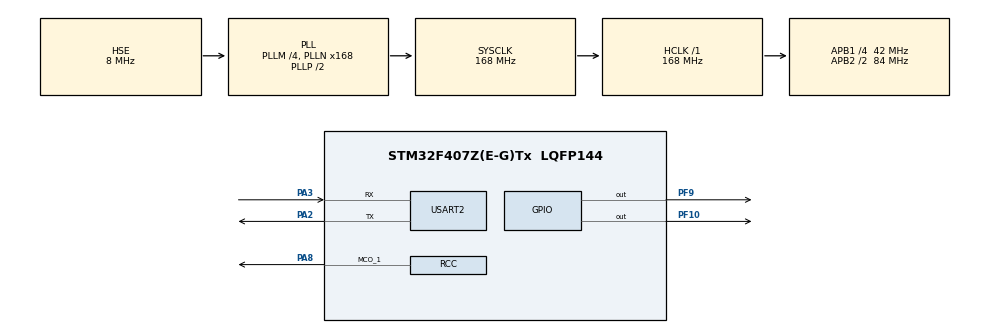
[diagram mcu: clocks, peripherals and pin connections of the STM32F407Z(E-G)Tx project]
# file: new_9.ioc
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FREERTOS.Tasks01=Task_1,24,128,StartTask_1,Default,NULL,Dynamic,NULL,NULL;Task_2,24,128,StartTask_2,Default,NULL,Dynamic,NULL,NULL
Mcu.Family=STM32F4
Mcu.Name=STM32F407Z(E-G)Tx
Mcu.Package=LQFP144
NVIC.PriorityGroup=NVIC_PRIORITYGROUP_4
NVIC.TIM6_DAC_IRQn=true\:15\:0\:false\:false\:true\:false\:false\:true\:true
NVIC.TimeBase=TIM6_DAC_IRQn
NVIC.TimeBaseIP=TIM6
PA13.Mode=Serial_Wire
PA13.Signal=SYS_JTMS-SWDIO
PA14.Mode=Serial_Wire
PA14.Signal=SYS_JTCK-SWCLK
PA2.Mode=Asynchronous
PA2.Signal=USART2_TX
PA3.Mode=Asynchronous
PA3.Signal=USART2_RX
PA8.Mode=Clock-out-1
PA8.Signal=RCC_MCO_1
PF10.GPIO_PuPd=GPIO_PULLUP
PF10.GPIO_Speed=GPIO_SPEED_FREQ_VERY_HIGH
PF10.Signal=GPIO_Output
PF9.GPIO_PuPd=GPIO_PULLUP
PF9.GPIO_Speed=GPIO_SPEED_FREQ_VERY_HIGH
PF9.Signal=GPIO_Output
PH0-OSC_IN.Mode=HSE-External-Oscillator
PH0-OSC_IN.Signal=RCC_OSC_IN
PH1-OSC_OUT.Mode=HSE-External-Oscillator
PH1-OSC_OUT.Signal=RCC_OSC_OUT
ProjectManager.HeapSize=0x200
ProjectManager.StackSize=0x400
ProjectManager.TargetToolchain=STM32CubeIDE
RCC.48MHZClocksFreq_Value=84000000
RCC.AHBFreq_Value=168000000
RCC.APB1CLKDivider=RCC_HCLK_DIV4
RCC.APB1Freq_Value=42000000
RCC.APB1TimFreq_Value=84000000
RCC.APB2CLKDivider=RCC_HCLK_DIV2
RCC.APB2Freq_Value=84000000
RCC.APB2TimFreq_Value=168000000
RCC.CortexFreq_Value=168000000
RCC.HCLKFreq_Value=168000000
RCC.HSE_VALUE=8000000
RCC.HSI_VALUE=16000000
RCC.LSE_VALUE=32768
RCC.PLLM=4
RCC.PLLN=168
RCC.PLLSourceVirtual=RCC_PLLSOURCE_HSE
RCC.SYSCLKFreq_VALUE=168000000
RCC.SYSCLKSource=RCC_SYSCLKSOURCE_PLLCLK
RCC.VCOOutputFreq_Value=336000000
USART2.VirtualMode=VM_ASYNC
VP_FREERTOS_VS_CMSIS_V2.Mode=CMSIS_V2
VP_SYS_VS_tim6.Mode=TIM6
board=custom

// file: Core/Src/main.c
/* USER CODE BEGIN Header */
/**
  ******************************************************************************
  * @file           : main.c
  * @brief          : Main program body
  ******************************************************************************
  * @attention
  *
  * Copyright (c) 2024 STMicroelectronics.
  * All rights reserved.
  *
  * This software is licensed under terms that can be found in the LICENSE file
  * in the root directory of this software component.
  * If no LICENSE file comes with this software, it is provided AS-IS.
  *
  ******************************************************************************
  */
/* USER CODE END Header */
#include "main.h"
#include "cmsis_os.h"
#include "usart.h"
#include "gpio.h"

void SystemClock_Config(void);
void MX_FREERTOS_Init(void);

int main(void)
{

  /* MCU Configuration--------------------------------------------------------*/

  /* Reset of all peripherals, Initializes the Flash interface and the Systick. */
  HAL_Init();

  /* Configure the system clock */
  SystemClock_Config();

  /* Initialize all configured peripherals */
  MX_GPIO_Init();
  MX_USART2_UART_Init();

  /* Init scheduler */
  osKernelInitialize();

  /* Call init function for freertos objects (in cmsis_os2.c) */
  MX_FREERTOS_Init();

  /* Start scheduler */
  osKernelStart();

  /* We should never get here as control is now taken by the scheduler */

  /* Infinite loop */
  while (1)
  {

  }
}

void SystemClock_Config(void)
{
  RCC_OscInitTypeDef RCC_OscInitStruct = {0};
  RCC_ClkInitTypeDef RCC_ClkInitStruct = {0};

  /** Configure the main internal regulator output voltage
  */
  __HAL_RCC_PWR_CLK_ENABLE();
  __HAL_PWR_VOLTAGESCALING_CONFIG(PWR_REGULATOR_VOLTAGE_SCALE1);

  /** Initializes the RCC Oscillators according to the specified parameters
  * in the RCC_OscInitTypeDef structure.
  */
  RCC_OscInitStruct.OscillatorType = RCC_OSCILLATORTYPE_HSI|RCC_OSCILLATORTYPE_HSE;
  RCC_OscInitStruct.HSEState = RCC_HSE_ON;
  RCC_OscInitStruct.HSIState = RCC_HSI_ON;
  RCC_OscInitStruct.HSICalibrationValue = RCC_HSICALIBRATION_DEFAULT;
  RCC_OscInitStruct.PLL.PLLState = RCC_PLL_ON;
  RCC_OscInitStruct.PLL.PLLSource = RCC_PLLSOURCE_HSE;
  RCC_OscInitStruct.PLL.PLLM = 4;
  RCC_OscInitStruct.PLL.PLLN = 168;
  RCC_OscInitStruct.PLL.PLLP = RCC_PLLP_DIV2;
  RCC_OscInitStruct.PLL.PLLQ = 4;
  if (HAL_RCC_OscConfig(&RCC_OscInitStruct) != HAL_OK)
  {
    Error_Handler();
  }

  /** Initializes the CPU, AHB and APB buses clocks
  */
  RCC_ClkInitStruct.ClockType = RCC_CLOCKTYPE_HCLK|RCC_CLOCKTYPE_SYSCLK
                              |RCC_CLOCKTYPE_PCLK1|RCC_CLOCKTYPE_PCLK2;
  RCC_ClkInitStruct.SYSCLKSource = RCC_SYSCLKSOURCE_PLLCLK;
  RCC_ClkInitStruct.AHBCLKDivider = RCC_SYSCLK_DIV1;
  RCC_ClkInitStruct.APB1CLKDivider = RCC_HCLK_DIV4;
  RCC_ClkInitStruct.APB2CLKDivider = RCC_HCLK_DIV2;

  if (HAL_RCC_ClockConfig(&RCC_ClkInitStruct, FLASH_LATENCY_5) != HAL_OK)
  {
    Error_Handler();
  }
  HAL_RCC_MCOConfig(RCC_MCO1, RCC_MCO1SOURCE_HSI, RCC_MCODIV_1);
}

void HAL_TIM_PeriodElapsedCallback(TIM_HandleTypeDef *htim)
{
  if (htim->Instance == TIM6) {
    HAL_IncTick();
  }
}

void Error_Handler(void)
{
  __disable_irq();
  while (1)
  {
  }
}

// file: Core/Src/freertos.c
/* USER CODE BEGIN Header */
/**
  ******************************************************************************
  * File Name          : freertos.c
  * Description        : Code for freertos applications
  ******************************************************************************
  * @attention
  *
  * Copyright (c) 2024 STMicroelectronics.
  * All rights reserved.
  *
  * This software is licensed under terms that can be found in the LICENSE file
  * in the root directory of this software component.
  * If no LICENSE file comes with this software, it is provided AS-IS.
  *
  ******************************************************************************
  */
/* USER CODE END Header */

#include "FreeRTOS.h"
#include "task.h"
#include "main.h"
#include "cmsis_os.h"
#include "usart.h"
#include <string.h>
#include <stdio.h>

uint8_t hello1[] = "Hello world from task 1. ";
uint8_t hello2[] = "Hello world from task 2. ";
_Bool flag = 0;

/* Definitions for Task_1 */
osThreadId_t Task_1Handle;
const osThreadAttr_t Task_1_attributes = {
  .name = "Task_1",
  .stack_size = 128 * 4,
  .priority = (osPriority_t) osPriorityNormal,
};
/* Definitions for Task_2 */
osThreadId_t Task_2Handle;
const osThreadAttr_t Task_2_attributes = {
  .name = "Task_2",
  .stack_size = 128 * 4,
  .priority = (osPriority_t) osPriorityNormal,
};

void StartTask_1(void *argument);
void StartTask_2(void *argument);

void MX_FREERTOS_Init(void); /* (MISRA C 2004 rule 8.1) */

void MX_FREERTOS_Init(void) {

  /* Create the thread(s) */
  /* creation of Task_1 */
  Task_1Handle = osThreadNew(StartTask_1, NULL, &Task_1_attributes);

  /* creation of Task_2 */
  Task_2Handle = osThreadNew(StartTask_2, NULL, &Task_2_attributes);

}

void StartTask_1(void *argument)
{
  /* USER CODE BEGIN StartTask_1 */
  TickType_t ticks = pdMS_TO_TICKS(1000);

  /* Infinite loop */
  for(;;)
  {
    //HAL_GPIO_TogglePin(GPIOF, GPIO_PIN_9);
    HAL_UART_Transmit(&huart2, hello1, strlen((char *)hello1), HAL_MAX_DELAY);
    vTaskDelay(ticks);
  }
  /* USER CODE END StartTask_1 */
}

void StartTask_2(void *argument)
{
  /* USER CODE BEGIN StartTask_2 */
  TickType_t ticks = pdMS_TO_TICKS(1000);
  unsigned char count = 0;

  /* Infinite loop */
  for(;;)
  {
    //HAL_GPIO_TogglePin(GPIOF, GPIO_PIN_10);
    //HAL_Delay(1000);       待测;
    HAL_UART_Transmit(&huart2, hello2, strlen((char *)hello2), HAL_MAX_DELAY);
    vTaskDelay(ticks);

    if (count == 9)
     {
         HAL_UART_Transmit(&huart2, (uint8_t*)"Suspending Task_1\n", 19, HAL_MAX_DELAY);
         vTaskSuspend(Task_1Handle);
     }
     else if (count == 19)
     {
         HAL_UART_Transmit(&huart2, (uint8_t*)"Resuming Task_1\n", 18, HAL_MAX_DELAY);
         vTaskResume(Task_1Handle);
     }
     else if (count >= 29)
     {
       if (!flag)
       {
         HAL_UART_Transmit(&huart2, (uint8_t*)"Deleting Task_1\n", 18, HAL_MAX_DELAY);
         vTaskDelete(Task_1Handle);
         flag = 1;
         HAL_UART_Transmit(&huart2, (uint8_t*)"Task_1 Deleted\n", 16, HAL_MAX_DELAY);
       }
     }

    count ++;
  }
  /* USER CODE END StartTask_2 */
}
